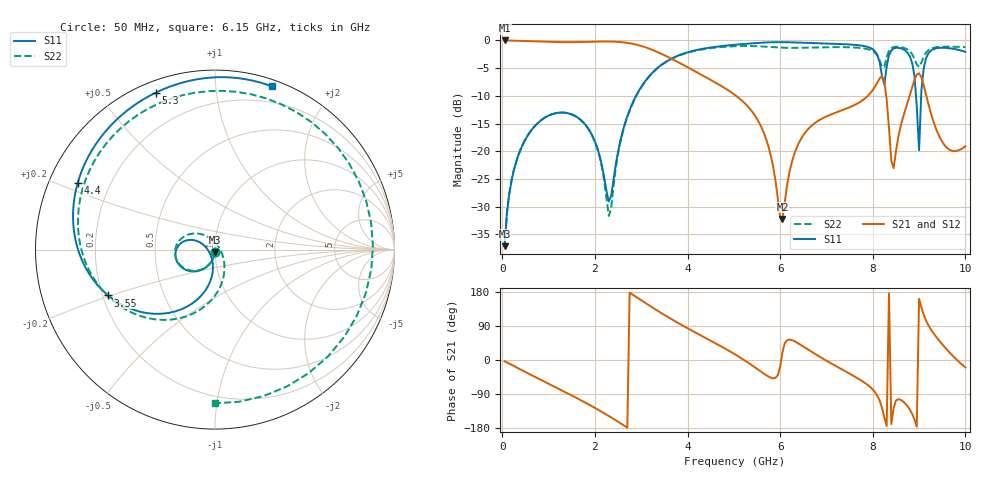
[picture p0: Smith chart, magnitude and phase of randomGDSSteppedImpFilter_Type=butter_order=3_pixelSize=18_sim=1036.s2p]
! freq	dB(S11)	phase(S11)	dB(S12)	phase(S12)
!  dB(S21)	phase(S21)	dB(S22)	phase(S22)
!S-par simulation data
#  GHz  S  DB  R 50
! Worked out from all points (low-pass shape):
!   200 points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, 50 MHz to 10 GHz, reference 50 ohm
!   highest |S21| = -0.01 dB at 50 MHz (marker M1); lowest = -32.2 dB at 6.05 GHz (marker M2)
!   |S21| within 3 dB of the highest: start of sweep to 3.583 GHz
!   lowest |S11| = -37.1 dB at 50 MHz (marker M3), VSWR 1.03, Z = 49.9 - j1.39 ohm
!   |S11| at or under -10 dB: start of sweep to 2.889 GHz; 8.933 GHz to 9.045 GHz (111.8 MHz wide, 1.24 % of centre)
!   |S22| runs from -37.1 to -1.0 dB; largest |S21 - S12| = 0
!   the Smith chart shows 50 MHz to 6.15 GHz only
!   S11 on the Smith chart (normalised r, x): 50 MHz: 1.00, -0.03; 3.55 GHz: 0.22, -0.20; 4.4 GHz: 0.08, +0.23; 5.3 GHz: 0.05, +0.69; 6.15 GHz: 0.06, +1.40
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0.05  -37.12 -92.3  -0.01 -3.2  -0.01 -3.2  -37.12 -92.4
0.55  -17.14 -124.7  -0.13 -34.9  -0.13 -34.9  -17.14 -126.0
1.75  -14.80 165.8  -0.28 -109.7  -0.28 -109.7  -14.81 154.9
2.3  -29.06 -159.1  -0.20 -147.7  -0.20 -147.7  -31.67 46.5
2.7  -13.68 -100.8  -0.45 -178.4  -0.45 -178.4  -13.81 -81.0
3.4  -4.64 -146.8  -2.28 126.4  -2.28 126.4  -4.69 -143.1
3.55  -3.78 -156.7  -2.87 115.3  -2.87 115.3  -3.82 -155.1
4.4  -1.41 154.0  -6.66 57.5  -6.66 57.5  -1.51 139.9
5.05  -0.76 122.3  -10.01 13.1  -10.01 13.1  -1.04 82.1
5.3  -0.59 110.7  -11.89 -6.3  -11.89 -6.3  -1.01 53.1
5.7  -0.37 92.0  -17.86 -40.1  -17.86 -40.1  -1.13 -7.1
6.05  -0.31 75.5  -32.20 20.6  -32.20 20.6  -1.31 -71.6
6.15  -0.33 70.8  -26.12 52.5  -26.12 52.5  -1.34 -90.0
6.7  -0.47 46.0  -15.24 20.1  -15.24 20.1  -1.28 -174.7
7.4  -0.68 13.9  -12.40 -29.2  -12.40 -29.2  -1.22 113.1
8.2  -6.52 -35.8  -6.45 -126.6  -6.45 -126.6  -4.82 50.5
8.35  -2.67 -3.8  -15.77 175.9  -15.77 175.9  -1.87 57.7
8.45  -1.47 -18.6  -23.05 -127.2  -23.05 -127.2  -1.19 44.2
8.8  -2.88 -62.4  -9.84 -130.8  -9.84 -130.8  -1.97 8.6
9  -19.84 -8.0  -5.92 161.5  -5.92 161.5  -4.79 8.2
9.15  -3.24 -9.6  -9.77 104.3  -9.77 104.3  -2.21 8.7
10  -2.07 -99.4  -19.10 -19.6  -19.10 -19.6  -1.21 -52.6
